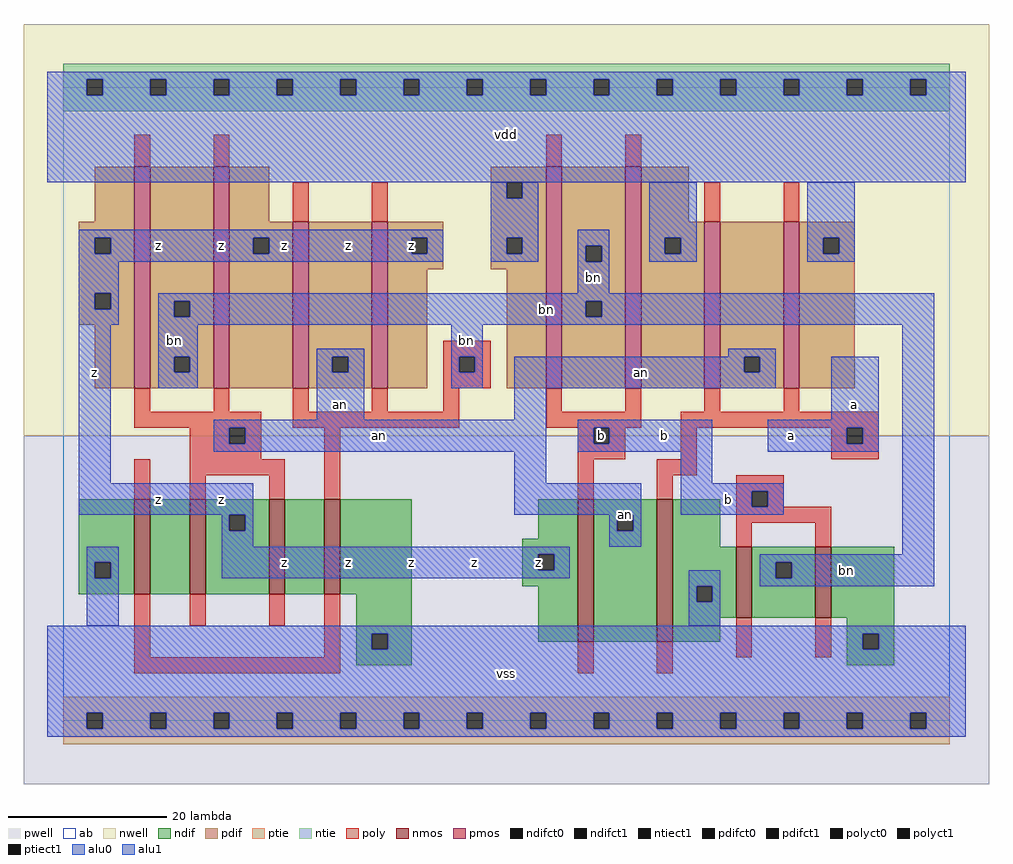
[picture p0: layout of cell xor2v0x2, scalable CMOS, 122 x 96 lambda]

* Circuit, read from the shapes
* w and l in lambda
.subckt xor2v0x2 a an b bn vdd vss z
M1 n1 bn vss vss nfet w=12 l=2
M2 z an n1 vss nfet w=12 l=2
M3 n2 an z vss nfet w=12 l=2
M4 vss bn n2 vss nfet w=12 l=2
M5 an b z vss nfet w=18 l=2
M6 vss a an vss nfet w=18 l=2
M7 bn b vss vss nfet w=9 l=2 m=2
M8 bn an z vdd pfet w=28 l=2 m=2
M9 an bn z vdd pfet w=21 l=2 m=2
M10 bn b vdd vdd pfet w=28 l=2 m=2
M11 an a vdd vdd pfet w=21 l=2 m=2
.ends

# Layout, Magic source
magic
tech scmos
<< ab >>
rect 0 0 112 80
<< nwell >>
rect -5 36 117 88
<< pwell >>
rect -5 -8 117 36
<< poly >>
rect 9 70 11 74
rect 19 70 21 74
rect 61 70 63 74
rect 71 70 73 74
rect 29 63 31 68
rect 39 63 41 68
rect 48 46 54 48
rect 48 44 50 46
rect 52 44 54 46
rect 48 42 54 44
rect 81 63 83 68
rect 91 63 93 68
rect 9 39 11 42
rect 19 39 21 42
rect 29 39 31 42
rect 39 39 41 42
rect 48 39 50 42
rect 9 37 25 39
rect 29 37 50 39
rect 61 39 63 42
rect 71 39 73 42
rect 81 39 83 42
rect 91 39 93 42
rect 61 37 73 39
rect 78 37 103 39
rect 16 35 21 37
rect 23 35 25 37
rect 16 33 25 35
rect 9 28 11 33
rect 16 31 28 33
rect 16 28 18 31
rect 26 28 28 31
rect 33 28 35 37
rect 65 35 67 37
rect 69 35 71 37
rect 65 33 71 35
rect 78 33 80 37
rect 97 35 99 37
rect 101 35 103 37
rect 97 33 103 35
rect 65 28 67 33
rect 75 31 80 33
rect 75 28 77 31
rect 85 29 91 31
rect 9 8 11 16
rect 16 12 18 16
rect 26 12 28 16
rect 33 8 35 16
rect 9 6 35 8
rect 85 27 87 29
rect 89 27 91 29
rect 85 25 97 27
rect 85 22 87 25
rect 95 22 97 25
rect 65 6 67 10
rect 75 6 77 10
rect 85 8 87 13
rect 95 8 97 13
<< ndif >>
rect 2 20 9 28
rect 2 18 4 20
rect 6 18 9 20
rect 2 16 9 18
rect 11 16 16 28
rect 18 26 26 28
rect 18 24 21 26
rect 23 24 26 26
rect 18 16 26 24
rect 28 16 33 28
rect 35 16 44 28
rect 60 23 65 28
rect 58 21 65 23
rect 58 19 60 21
rect 62 19 65 21
rect 58 17 65 19
rect 37 11 44 16
rect 37 9 39 11
rect 41 9 44 11
rect 60 10 65 17
rect 67 26 75 28
rect 67 24 70 26
rect 72 24 75 26
rect 67 10 75 24
rect 77 22 83 28
rect 77 17 85 22
rect 77 15 80 17
rect 82 15 85 17
rect 77 13 85 15
rect 87 20 95 22
rect 87 18 90 20
rect 92 18 95 20
rect 87 13 95 18
rect 97 13 105 22
rect 77 10 83 13
rect 37 7 44 9
rect 99 11 105 13
rect 99 9 101 11
rect 103 9 105 11
rect 99 7 105 9
<< pdif >>
rect 4 63 9 70
rect 2 61 9 63
rect 2 59 4 61
rect 6 59 9 61
rect 2 54 9 59
rect 2 52 4 54
rect 6 52 9 54
rect 2 50 9 52
rect 4 42 9 50
rect 11 53 19 70
rect 11 51 14 53
rect 16 51 19 53
rect 11 46 19 51
rect 11 44 14 46
rect 16 44 19 46
rect 11 42 19 44
rect 21 63 26 70
rect 54 68 61 70
rect 54 66 56 68
rect 58 66 61 68
rect 21 61 29 63
rect 21 59 24 61
rect 26 59 29 61
rect 21 42 29 59
rect 31 46 39 63
rect 31 44 34 46
rect 36 44 39 46
rect 31 42 39 44
rect 41 61 48 63
rect 41 59 44 61
rect 46 59 48 61
rect 41 57 48 59
rect 54 61 61 66
rect 54 59 56 61
rect 58 59 61 61
rect 54 57 61 59
rect 41 42 46 57
rect 56 42 61 57
rect 63 60 71 70
rect 63 58 66 60
rect 68 58 71 60
rect 63 53 71 58
rect 63 51 66 53
rect 68 51 71 53
rect 63 42 71 51
rect 73 63 79 70
rect 73 61 81 63
rect 73 59 76 61
rect 78 59 81 61
rect 73 42 81 59
rect 83 46 91 63
rect 83 44 86 46
rect 88 44 91 46
rect 83 42 91 44
rect 93 61 100 63
rect 93 59 96 61
rect 98 59 100 61
rect 93 42 100 59
<< alu1 >>
rect -2 81 114 82
rect -2 79 3 81
rect 5 79 11 81
rect 13 79 19 81
rect 21 79 27 81
rect 29 79 35 81
rect 37 79 43 81
rect 45 79 51 81
rect 53 79 59 81
rect 61 79 67 81
rect 69 79 75 81
rect 77 79 83 81
rect 85 79 91 81
rect 93 79 99 81
rect 101 79 107 81
rect 109 79 114 81
rect -2 68 114 79
rect 2 61 48 62
rect 2 59 4 61
rect 6 59 24 61
rect 26 59 44 61
rect 46 59 48 61
rect 2 58 48 59
rect 2 54 7 58
rect 2 52 4 54
rect 6 52 7 54
rect 2 50 7 52
rect 2 30 6 50
rect 97 38 103 46
rect 65 37 82 38
rect 65 35 67 37
rect 69 35 82 37
rect 65 34 82 35
rect 89 37 103 38
rect 89 35 99 37
rect 101 35 103 37
rect 89 34 103 35
rect 78 30 82 34
rect 2 26 24 30
rect 78 29 91 30
rect 78 27 87 29
rect 89 27 91 29
rect 78 26 91 27
rect 20 24 21 26
rect 23 24 24 26
rect 20 22 24 24
rect 20 21 64 22
rect 20 19 60 21
rect 62 19 64 21
rect 20 18 64 19
rect -2 11 114 12
rect -2 9 39 11
rect 41 9 101 11
rect 103 9 114 11
rect -2 1 114 9
rect -2 -1 3 1
rect 5 -1 11 1
rect 13 -1 19 1
rect 21 -1 27 1
rect 29 -1 35 1
rect 37 -1 43 1
rect 45 -1 51 1
rect 53 -1 59 1
rect 61 -1 67 1
rect 69 -1 75 1
rect 77 -1 83 1
rect 85 -1 91 1
rect 93 -1 99 1
rect 101 -1 107 1
rect 109 -1 114 1
rect -2 -2 114 -1
<< ptie >>
rect 0 1 112 3
rect 0 -1 3 1
rect 5 -1 11 1
rect 13 -1 19 1
rect 21 -1 27 1
rect 29 -1 35 1
rect 37 -1 43 1
rect 45 -1 51 1
rect 53 -1 59 1
rect 61 -1 67 1
rect 69 -1 75 1
rect 77 -1 83 1
rect 85 -1 91 1
rect 93 -1 99 1
rect 101 -1 107 1
rect 109 -1 112 1
rect 0 -3 112 -1
<< ntie >>
rect 0 81 112 83
rect 0 79 3 81
rect 5 79 11 81
rect 13 79 19 81
rect 21 79 27 81
rect 29 79 35 81
rect 37 79 43 81
rect 45 79 51 81
rect 53 79 59 81
rect 61 79 67 81
rect 69 79 75 81
rect 77 79 83 81
rect 85 79 91 81
rect 93 79 99 81
rect 101 79 107 81
rect 109 79 112 81
rect 0 77 112 79
<< nmos >>
rect 9 16 11 28
rect 16 16 18 28
rect 26 16 28 28
rect 33 16 35 28
rect 65 10 67 28
rect 75 10 77 28
rect 85 13 87 22
rect 95 13 97 22
<< pmos >>
rect 9 42 11 70
rect 19 42 21 70
rect 29 42 31 63
rect 39 42 41 63
rect 61 42 63 70
rect 71 42 73 70
rect 81 42 83 63
rect 91 42 93 63
<< polyct0 >>
rect 50 44 52 46
rect 21 35 23 37
<< polyct1 >>
rect 67 35 69 37
rect 99 35 101 37
rect 87 27 89 29
<< ndifct0 >>
rect 4 18 6 20
rect 70 24 72 26
rect 80 15 82 17
rect 90 18 92 20
<< ndifct1 >>
rect 21 24 23 26
rect 60 19 62 21
rect 39 9 41 11
rect 101 9 103 11
<< ntiect1 >>
rect 3 79 5 81
rect 11 79 13 81
rect 19 79 21 81
rect 27 79 29 81
rect 35 79 37 81
rect 43 79 45 81
rect 51 79 53 81
rect 59 79 61 81
rect 67 79 69 81
rect 75 79 77 81
rect 83 79 85 81
rect 91 79 93 81
rect 99 79 101 81
rect 107 79 109 81
<< ptiect1 >>
rect 3 -1 5 1
rect 11 -1 13 1
rect 19 -1 21 1
rect 27 -1 29 1
rect 35 -1 37 1
rect 43 -1 45 1
rect 51 -1 53 1
rect 59 -1 61 1
rect 67 -1 69 1
rect 75 -1 77 1
rect 83 -1 85 1
rect 91 -1 93 1
rect 99 -1 101 1
rect 107 -1 109 1
<< pdifct0 >>
rect 14 51 16 53
rect 14 44 16 46
rect 56 66 58 68
rect 34 44 36 46
rect 56 59 58 61
rect 66 58 68 60
rect 66 51 68 53
rect 76 59 78 61
rect 86 44 88 46
rect 96 59 98 61
<< pdifct1 >>
rect 4 59 6 61
rect 4 52 6 54
rect 24 59 26 61
rect 44 59 46 61
<< alu0 >>
rect 54 66 56 68
rect 58 66 60 68
rect 54 61 60 66
rect 54 59 56 61
rect 58 59 60 61
rect 54 58 60 59
rect 65 60 69 62
rect 65 58 66 60
rect 68 58 69 60
rect 74 61 80 68
rect 74 59 76 61
rect 78 59 80 61
rect 74 58 80 59
rect 94 61 100 68
rect 94 59 96 61
rect 98 59 100 61
rect 94 58 100 59
rect 65 54 69 58
rect 12 53 110 54
rect 12 51 14 53
rect 16 51 66 53
rect 68 51 110 53
rect 12 50 110 51
rect 12 46 17 50
rect 12 44 14 46
rect 16 44 17 46
rect 12 42 17 44
rect 32 46 38 47
rect 32 44 34 46
rect 36 44 38 46
rect 32 38 38 44
rect 49 46 53 50
rect 84 46 90 47
rect 49 44 50 46
rect 52 44 53 46
rect 49 42 53 44
rect 57 44 86 46
rect 88 44 90 46
rect 57 42 90 44
rect 57 38 61 42
rect 19 37 61 38
rect 19 35 21 37
rect 23 35 61 37
rect 19 34 61 35
rect 57 30 61 34
rect 57 26 73 30
rect 69 24 70 26
rect 72 24 73 26
rect 69 22 73 24
rect 3 20 7 22
rect 3 18 4 20
rect 6 18 7 20
rect 106 21 110 50
rect 88 20 110 21
rect 3 12 7 18
rect 79 17 83 19
rect 88 18 90 20
rect 92 18 110 20
rect 88 17 110 18
rect 79 15 80 17
rect 82 15 83 17
rect 79 12 83 15
<< labels >>
rlabel alu0 14 48 14 48 6 bn
rlabel alu0 51 48 51 48 6 bn
rlabel alu0 35 40 35 40 6 an
rlabel alu0 40 36 40 36 6 an
rlabel alu0 71 26 71 26 6 an
rlabel alu0 67 56 67 56 6 bn
rlabel alu0 99 19 99 19 6 bn
rlabel alu0 73 44 73 44 6 an
rlabel alu0 61 52 61 52 6 bn
rlabel alu1 20 28 20 28 6 z
rlabel alu1 12 28 12 28 6 z
rlabel alu1 4 44 4 44 6 z
rlabel alu1 12 60 12 60 6 z
rlabel alu1 20 60 20 60 6 z
rlabel alu1 36 20 36 20 6 z
rlabel alu1 44 20 44 20 6 z
rlabel alu1 52 20 52 20 6 z
rlabel alu1 28 20 28 20 6 z
rlabel alu1 36 60 36 60 6 z
rlabel alu1 44 60 44 60 6 z
rlabel alu1 28 60 28 60 6 z
rlabel alu1 56 6 56 6 6 vss
rlabel alu1 60 20 60 20 6 z
rlabel alu1 76 36 76 36 6 b
rlabel polyct1 68 36 68 36 6 b
rlabel alu1 56 74 56 74 6 vdd
rlabel alu1 84 28 84 28 6 b
rlabel alu1 92 36 92 36 6 a
rlabel alu1 100 40 100 40 6 a
<< end >>
